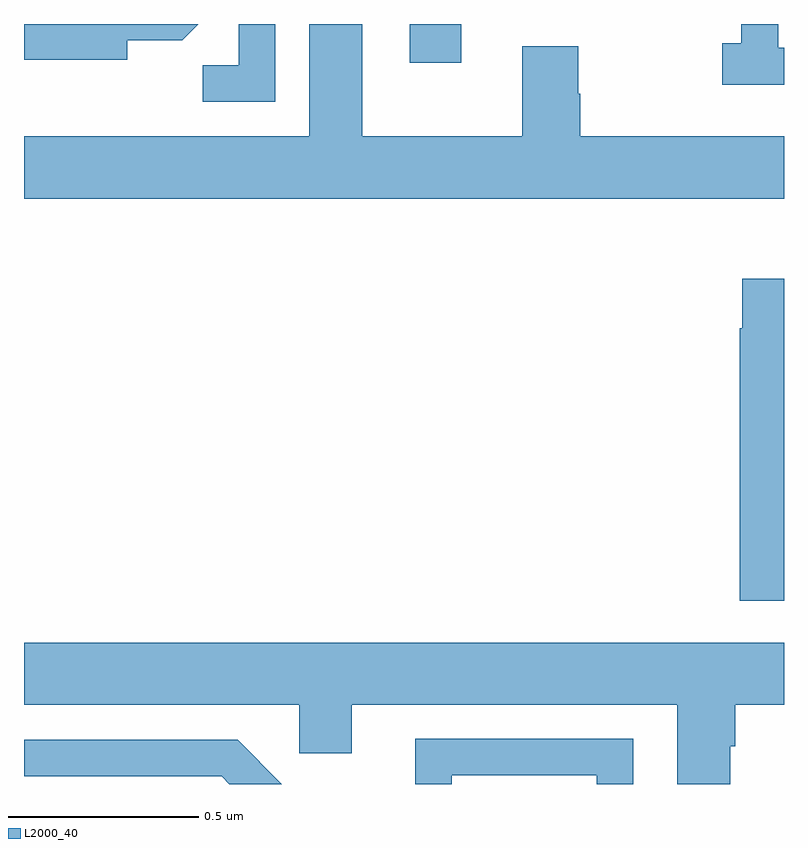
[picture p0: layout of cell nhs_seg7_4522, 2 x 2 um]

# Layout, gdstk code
import gdstk
lib = gdstk.Library(unit=1e-6, precision=1e-09)
def R(c, l, rs):  # rectangles x0, y0, x1, y1
    for r in rs: c.add(gdstk.rectangle(r[:2], r[2:], *l))
def P(c, l, *ps):  # polygons
    for p in ps: c.add(gdstk.Polygon(p, *l))
L2000_40 = (2000, 40)

nhs_seg7_4522 = lib.new_cell('nhs_seg7_4522')
R(nhs_seg7_4522, L2000_40, [(174.015,1076.898,174.151,1077)])
P(nhs_seg7_4522, L2000_40, [(175,1076.704),(174.464,1076.704),(174.464,1076.817),(174.459,1076.817),(174.459,1076.942),(174.311,1076.942),(174.311,1076.704),(173.89,1076.704),(173.89,1077),(173.75,1077),(173.75,1076.704),(173,1076.704),(173,1076.54),(175,1076.54)],
  [(175,1076.937),(174.985,1076.937),(174.985,1077),(174.888,1077),(174.888,1076.95),(174.837,1076.95),(174.837,1076.84),(175,1076.84)],
  [(173.661,1077),(173.565,1077),(173.565,1076.891),(173.47,1076.891),(173.47,1076.796),(173.661,1076.796)],
  [(173.272,1076.957),(173.416,1076.957),(173.459,1077),(173,1077),(173,1076.906),(173.272,1076.906)],
  [(175,1076.329),(174.89,1076.329),(174.89,1076.199),(174.883,1076.199),(174.883,1075.482),(175,1075.482)],
  [(174.858,1075.099),(174.872,1075.099),(174.872,1075.208),(175,1075.208),(175,1075.372),(173,1075.372),(173,1075.208),(173.724,1075.208),(173.724,1075.081),(173.863,1075.081),(173.863,1075.208),(174.719,1075.208),(174.719,1075),(174.858,1075)],
  [(174.126,1075.023),(174.507,1075.023),(174.507,1075),(174.603,1075),(174.603,1075.119),(174.029,1075.119),(174.029,1075),(174.126,1075)],
  [(173.562,1075.116),(173,1075.116),(173,1075.02),(173.52,1075.02),(173.54,1075),(173.678,1075)])

lib.write_gds('nhs_seg7_4522.gds')
